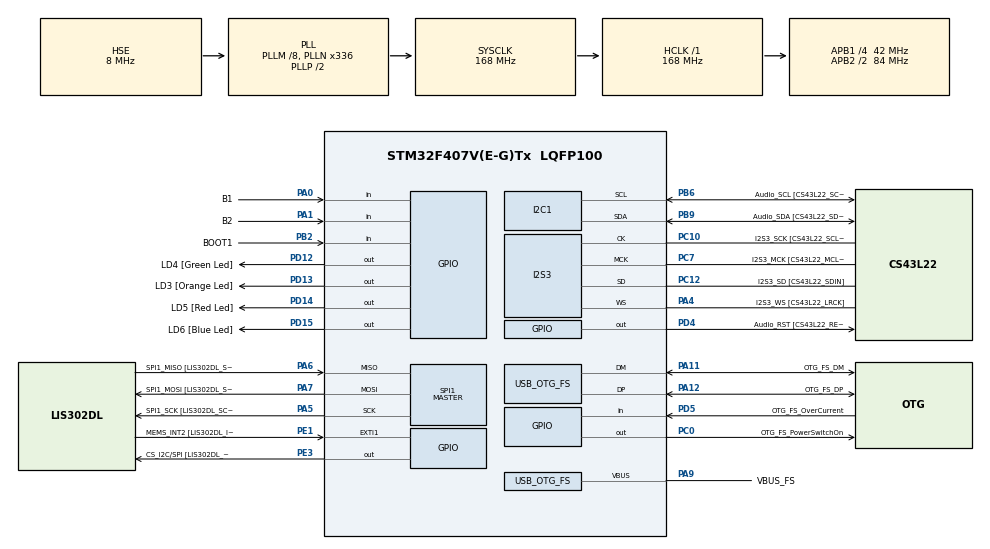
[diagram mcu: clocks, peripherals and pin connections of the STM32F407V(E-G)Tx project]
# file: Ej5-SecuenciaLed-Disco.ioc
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I2S3.AudioFreq-Half_Duplex_Master=I2S_AUDIOFREQ_96K
I2S3.ErrorAudioFreq=-2.34 %
I2S3.ErrorAudioFreq-Half_Duplex_Master=0.8 %
I2S3.FullDuplexMode=I2S_FULLDUPLEXMODE_DISABLE
I2S3.Instance=SPI$Index
I2S3.RealAudioFreq=93.75 KHz
I2S3.RealAudioFreq-Half_Duplex_Master=96.774 KHz
I2S3.VirtualMode=I2S_MODE_MASTER
Mcu.Family=STM32F4
Mcu.Name=STM32F407V(E-G)Tx
Mcu.Package=LQFP100
NVIC.OTG_FS_IRQn=true\:0\:0\:false\:false\:true\:true\:true
NVIC.PriorityGroup=NVIC_PRIORITYGROUP_0
PA0-WKUP.GPIO_Label=B1
PA0-WKUP.GPIO_PuPd=GPIO_PULLDOWN
PA0-WKUP.Signal=GPIO_Input
PA1.GPIO_Label=B2
PA1.GPIO_PuPd=GPIO_PULLDOWN
PA1.Signal=GPIO_Input
PA10.GPIO_Label=OTG_FS_ID
PA10.GPIO_Mode=GPIO_MODE_AF_PP
PA10.GPIO_PuPd=GPIO_NOPULL
PA10.GPIO_Speed=GPIO_SPEED_FREQ_LOW
PA10.Signal=USB_OTG_FS_ID
PA11.GPIO_Label=OTG_FS_DM
PA11.GPIO_Mode=GPIO_MODE_AF_PP
PA11.GPIO_PuPd=GPIO_NOPULL
PA11.GPIO_Speed=GPIO_SPEED_FREQ_LOW
PA11.Mode=Host_Only
PA11.Signal=USB_OTG_FS_DM
PA12.GPIO_Label=OTG_FS_DP
PA12.GPIO_Mode=GPIO_MODE_AF_PP
PA12.GPIO_PuPd=GPIO_NOPULL
PA12.GPIO_Speed=GPIO_SPEED_FREQ_LOW
PA12.Mode=Host_Only
PA12.Signal=USB_OTG_FS_DP
PA13.GPIO_Label=SWDIO
PA13.Mode=Serial_Wire
PA13.Signal=SYS_JTMS-SWDIO
PA14.GPIO_Label=SWCLK
PA14.Mode=Serial_Wire
PA14.Signal=SYS_JTCK-SWCLK
PA4.GPIO_Label=I2S3_WS [CS43L22_LRCK]
PA4.GPIO_Mode=GPIO_MODE_AF_PP
PA4.GPIO_PuPd=GPIO_NOPULL
PA4.GPIO_Speed=GPIO_SPEED_FREQ_LOW
PA4.Mode=Half_Duplex_Master
PA4.Signal=I2S3_WS
PA5.GPIO_Label=SPI1_SCK [LIS302DL_SCL/SPC]
PA5.GPIO_Mode=GPIO_MODE_AF_PP
PA5.GPIO_PuPd=GPIO_NOPULL
PA5.GPIO_Speed=GPIO_SPEED_FREQ_LOW
PA5.Mode=Full_Duplex_Master
PA5.Signal=SPI1_SCK
PA6.GPIO_Label=SPI1_MISO [LIS302DL_SDO]
PA6.GPIO_Mode=GPIO_MODE_AF_PP
PA6.GPIO_PuPd=GPIO_NOPULL
PA6.GPIO_Speed=GPIO_SPEED_FREQ_LOW
PA6.Mode=Full_Duplex_Master
PA6.Signal=SPI1_MISO
PA7.GPIO_Label=SPI1_MOSI [LIS302DL_SDA/SDI/SDO]
PA7.GPIO_Mode=GPIO_MODE_AF_PP
PA7.GPIO_PuPd=GPIO_NOPULL
PA7.GPIO_Speed=GPIO_SPEED_FREQ_LOW
PA7.Mode=Full_Duplex_Master
PA7.Signal=SPI1_MOSI
PA9.GPIO_Label=VBUS_FS
PA9.GPIO_Mode=GPIO_MODE_INPUT
PA9.GPIO_PuPd=GPIO_NOPULL
PA9.Mode=Activate_VBUS
PA9.Signal=USB_OTG_FS_VBUS
PB10.GPIO_Label=CLK_IN [MP45DT02_CLK]
PB10.GPIO_Mode=GPIO_MODE_AF_PP
PB10.GPIO_PuPd=GPIO_NOPULL
PB10.GPIO_Speed=GPIO_SPEED_FREQ_LOW
PB10.Signal=I2S2_CK
PB2.GPIO_Label=BOOT1
PB2.GPIO_Mode=GPIO_MODE_INPUT
PB2.GPIO_PuPd=GPIO_NOPULL
PB2.Signal=GPIO_Input
PB3.GPIO_Label=SWO
PB3.Signal=SYS_JTDO-SWO
PB6.GPIO_Label=Audio_SCL [CS43L22_SCL]
PB6.GPIO_Mode=GPIO_MODE_AF_OD
PB6.GPIO_Pu=GPIO_PULLUP
PB6.GPIO_PuPd=GPIO_NOPULL
PB6.GPIO_Speed=GPIO_SPEED_FREQ_LOW
PB6.Mode=I2C
PB6.Signal=I2C1_SCL
PB9.GPIO_Label=Audio_SDA [CS43L22_SDA]
PB9.GPIO_Mode=GPIO_MODE_AF_OD
PB9.GPIO_Pu=GPIO_PULLUP
PB9.GPIO_PuPd=GPIO_NOPULL
PB9.GPIO_Speed=GPIO_SPEED_FREQ_LOW
PB9.Mode=I2C
PB9.Signal=I2C1_SDA
PC0.GPIO_Label=OTG_FS_PowerSwitchOn
PC0.GPIO_PuPd=GPIO_NOPULL
PC0.GPIO_Speed=GPIO_SPEED_FREQ_LOW
PC0.PinState=GPIO_PIN_SET
PC0.Signal=GPIO_Output
PC10.GPIO_Label=I2S3_SCK [CS43L22_SCLK]
PC10.GPIO_Mode=GPIO_MODE_AF_PP
PC10.GPIO_PuPd=GPIO_NOPULL
PC10.GPIO_Speed=GPIO_SPEED_FREQ_LOW
PC10.Mode=Half_Duplex_Master
PC10.Signal=I2S3_CK
PC12.GPIO_Label=I2S3_SD [CS43L22_SDIN]
PC12.GPIO_Mode=GPIO_MODE_AF_PP
PC12.GPIO_PuPd=GPIO_NOPULL
PC12.GPIO_Speed=GPIO_SPEED_FREQ_LOW
PC12.Mode=Half_Duplex_Master
PC12.Signal=I2S3_SD
PC14-OSC32_IN.GPIO_Label=PC14-OSC32_IN
PC14-OSC32_IN.Mode=LSE-External-Oscillator
PC14-OSC32_IN.Signal=RCC_OSC32_IN
PC15-OSC32_OUT.GPIO_Label=PC15-OSC32_OUT
PC15-OSC32_OUT.Mode=LSE-External-Oscillator
PC15-OSC32_OUT.Signal=RCC_OSC32_OUT
PC3.GPIO_Label=PDM_OUT [MP45DT02_DOUT]
PC3.GPIO_Mode=GPIO_MODE_AF_PP
PC3.GPIO_PuPd=GPIO_NOPULL
PC3.GPIO_Speed=GPIO_SPEED_FREQ_LOW
PC3.Signal=I2S2_SD
PC7.GPIO_Label=I2S3_MCK [CS43L22_MCLK]
PC7.GPIO_Mode=GPIO_MODE_AF_PP
PC7.GPIO_PuPd=GPIO_NOPULL
PC7.GPIO_Speed=GPIO_SPEED_FREQ_LOW
PC7.Mode=Master_Clock_Activated
PC7.Signal=I2S3_MCK
PD12.GPIO_Label=LD4 [Green Led]
PD12.GPIO_PuPd=GPIO_NOPULL
PD12.GPIO_Speed=GPIO_SPEED_FREQ_LOW
PD12.Signal=GPIO_Output
PD13.GPIO_Label=LD3 [Orange Led]
PD13.GPIO_PuPd=GPIO_NOPULL
PD13.GPIO_Speed=GPIO_SPEED_FREQ_LOW
PD13.Signal=GPIO_Output
PD14.GPIO_Label=LD5 [Red Led]
PD14.GPIO_PuPd=GPIO_NOPULL
PD14.GPIO_Speed=GPIO_SPEED_FREQ_LOW
PD14.Signal=GPIO_Output
PD15.GPIO_Label=LD6 [Blue Led]
PD15.GPIO_PuPd=GPIO_NOPULL
PD15.GPIO_Speed=GPIO_SPEED_FREQ_LOW
PD15.Signal=GPIO_Output
PD4.GPIO_Label=Audio_RST [CS43L22_RESET]
PD4.GPIO_PuPd=GPIO_NOPULL
PD4.GPIO_Speed=GPIO_SPEED_FREQ_LOW
PD4.Signal=GPIO_Output
PD5.GPIO_Label=OTG_FS_OverCurrent
PD5.GPIO_Mode=GPIO_MODE_INPUT
PD5.GPIO_PuPd=GPIO_NOPULL
PD5.Signal=GPIO_Input
PE1.GPIO_Label=MEMS_INT2 [LIS302DL_INT2]
PE1.GPIO_ModeDefaultEXTI=GPIO_MODE_EVT_RISING
PE1.GPIO_PuPd=GPIO_NOPULL
PE1.Signal=GPXTI1
PE3.GPIO_Label=CS_I2C/SPI [LIS302DL_CS_I2C/SPI]
PE3.GPIO_PuPd=GPIO_NOPULL
PE3.GPIO_Speed=GPIO_SPEED_FREQ_LOW
PE3.Signal=GPIO_Output
PH0-OSC_IN.GPIO_Label=PH0-OSC_IN
PH0-OSC_IN.Mode=HSE-External-Oscillator
PH0-OSC_IN.Signal=RCC_OSC_IN
PH1-OSC_OUT.GPIO_Label=PH1-OSC_OUT
PH1-OSC_OUT.Mode=HSE-External-Oscillator
PH1-OSC_OUT.Signal=RCC_OSC_OUT
ProjectManager.HeapSize=0x200
ProjectManager.StackSize=0x400
ProjectManager.TargetToolchain=STM32CubeIDE
RCC.48MHZClocksFreq_Value=48000000
RCC.AHBFreq_Value=168000000
RCC.APB1CLKDivider=RCC_HCLK_DIV4
RCC.APB1Freq_Value=42000000
RCC.APB1TimFreq_Value=84000000
RCC.APB2CLKDivider=RCC_HCLK_DIV2
RCC.APB2Freq_Value=84000000
RCC.APB2TimFreq_Value=168000000
RCC.CortexFreq_Value=168000000
RCC.HCLKFreq_Value=168000000
RCC.HSE_VALUE=8000000
RCC.HSI_VALUE=16000000
RCC.PLLM=8
RCC.PLLN=336
RCC.PLLQ=7
RCC.SYSCLKFreq_VALUE=168000000
RCC.SYSCLKSource=RCC_SYSCLKSOURCE_PLLCLK
RCC.VCOOutputFreq_Value=336000000
SPI1.BaudRatePrescaler-Full_Duplex_Master=SPI_BAUDRATEPRESCALER_2
SPI1.CalculateBaudRate-Full_Duplex_Master=42.0 MBits/s
SPI1.Direction=SPI_DIRECTION_2LINES
SPI1.Mode=SPI_MODE_MASTER
SPI1.Mode-Full_Duplex_Master=SPI_MODE_MASTER
SPI1.VirtualType=VM_MASTER
USB_HOST.BSP.number=1
USB_HOST.USBH_HandleTypeDef-CDC_FS=hUsbHostFS
USB_HOST.VirtualModeFS=Cdc
USB_HOST0.BSP.STBoard=false
USB_HOST0.BSP.api=Unknown
USB_HOST0.BSP.i2caddr=0
USB_HOST0.BSP.i2creg=0
USB_HOST0.BSP.instance=PC0
USB_HOST0.BSP.ip=GPIO
USB_HOST0.BSP.mode=Output
USB_HOST0.BSP.name=Drive_VBUS_FS
USB_HOST0.BSP.solution=PC0
USB_OTG_FS.VirtualMode=Host_Only
USB_OTG_FS.phy_itface=HCD_PHY_EMBEDDED
VP_USB_HOST_VS_USB_HOST_CDC_FS.Mode=CDC_FS
board=STM32F407G-DISC1

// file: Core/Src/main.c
/* USER CODE BEGIN Header */
/**
  ******************************************************************************
  * @file           : main.c
  * @brief          : Main program body
  ******************************************************************************
  * @attention
  *
  * Copyright (c) 2022 STMicroelectronics.
  * All rights reserved.
  *
  * This software is licensed under terms that can be found in the LICENSE file
  * in the root directory of this software component.
  * If no LICENSE file comes with this software, it is provided AS-IS.
  *
  ******************************************************************************
  */
/* USER CODE END Header */
#include "main.h"
#include "i2c.h"
#include "i2s.h"
#include "spi.h"
#include "usb_host.h"
#include "gpio.h"

/* USER CODE BEGIN PD */
#define N_LED 		4
#define N_PULSADOR 	2
#define T_ON		500
/* USER CODE END PD */

/* USER CODE BEGIN PV */
int led [N_LED] = {LD4_Pin,LD3_Pin,LD5_Pin,LD6_Pin};
/* USER CODE END PV */

void SystemClock_Config(void);
void MX_USB_HOST_Process(void);

int main(void)
{

  /* MCU Configuration--------------------------------------------------------*/

  /* Reset of all peripherals, Initializes the Flash interface and the Systick. */
  HAL_Init();

  /* Configure the system clock */
  SystemClock_Config();

  /* Initialize all configured peripherals */
  MX_GPIO_Init();
  MX_I2C1_Init();
  MX_I2S3_Init();
  MX_SPI1_Init();
  MX_USB_HOST_Init();
  /* USER CODE BEGIN 2 */
  int i = 0, sentido = 0;
  /* USER CODE END 2 */

  /* Infinite loop */
  while (1)
  {
    MX_USB_HOST_Process();

    /* USER CODE BEGIN 3 */

    if (HAL_GPIO_ReadPin(GPIOA,B1_Pin) == 1)
	{
		sentido = !sentido;
	}

	if (sentido == 0)
	{
		HAL_GPIO_WritePin(GPIOD,led[i], GPIO_PIN_RESET); //GPIO_PIN_RESET = 0
		i++;
		if ( i >= N_LED ){
			i = 0;
		}
		HAL_GPIO_WritePin(GPIOD,led[i], GPIO_PIN_SET); //GPIO_PIN_SET = 1
	}
	else
	{
		HAL_GPIO_WritePin(GPIOD,led[i], 0);
		i--;
		if ( i < 0 ){
			i = N_LED-1;
		}
		HAL_GPIO_WritePin(GPIOD,led[i], 1);
	}
	HAL_Delay(T_ON); //Retardo de un tiempo igual a T_ON
  }
  /* USER CODE END 3 */
}

void SystemClock_Config(void)
{
  RCC_OscInitTypeDef RCC_OscInitStruct = {0};
  RCC_ClkInitTypeDef RCC_ClkInitStruct = {0};

  /** Configure the main internal regulator output voltage
  */
  __HAL_RCC_PWR_CLK_ENABLE();
  __HAL_PWR_VOLTAGESCALING_CONFIG(PWR_REGULATOR_VOLTAGE_SCALE1);
  /** Initializes the RCC Oscillators according to the specified parameters
  * in the RCC_OscInitTypeDef structure.
  */
  RCC_OscInitStruct.OscillatorType = RCC_OSCILLATORTYPE_HSE;
  RCC_OscInitStruct.HSEState = RCC_HSE_ON;
  RCC_OscInitStruct.PLL.PLLState = RCC_PLL_ON;
  RCC_OscInitStruct.PLL.PLLSource = RCC_PLLSOURCE_HSE;
  RCC_OscInitStruct.PLL.PLLM = 8;
  RCC_OscInitStruct.PLL.PLLN = 336;
  RCC_OscInitStruct.PLL.PLLP = RCC_PLLP_DIV2;
  RCC_OscInitStruct.PLL.PLLQ = 7;
  if (HAL_RCC_OscConfig(&RCC_OscInitStruct) != HAL_OK)
  {
    Error_Handler();
  }
  /** Initializes the CPU, AHB and APB buses clocks
  */
  RCC_ClkInitStruct.ClockType = RCC_CLOCKTYPE_HCLK|RCC_CLOCKTYPE_SYSCLK
                              |RCC_CLOCKTYPE_PCLK1|RCC_CLOCKTYPE_PCLK2;
  RCC_ClkInitStruct.SYSCLKSource = RCC_SYSCLKSOURCE_PLLCLK;
  RCC_ClkInitStruct.AHBCLKDivider = RCC_SYSCLK_DIV1;
  RCC_ClkInitStruct.APB1CLKDivider = RCC_HCLK_DIV4;
  RCC_ClkInitStruct.APB2CLKDivider = RCC_HCLK_DIV2;

  if (HAL_RCC_ClockConfig(&RCC_ClkInitStruct, FLASH_LATENCY_5) != HAL_OK)
  {
    Error_Handler();
  }
}

void Error_Handler(void)
{
  __disable_irq();
  while (1)
  {
  }
}
